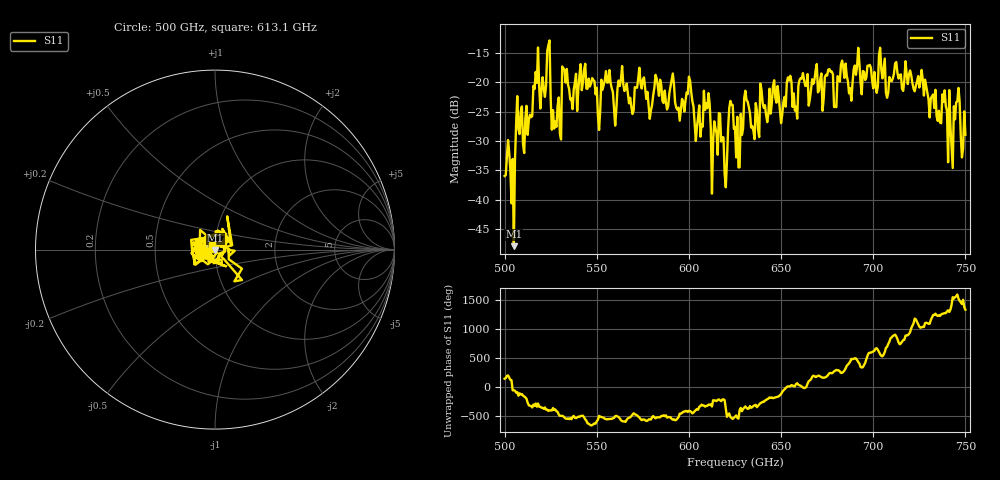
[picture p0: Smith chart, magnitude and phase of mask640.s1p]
!Created with skrf (http://scikit-rf.org).
# GHz S MA R 50.0
!freq magS11 angS11
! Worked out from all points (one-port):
!   401 points, 500 GHz to 750 GHz, reference 50 ohm
!   lowest |S11| = -47.9 dB at 505 GHz (marker M1), VSWR 1.01, Z = 50.2 - j0.355 ohm
!   |S11| at or under -10 dB: start of sweep to end of sweep
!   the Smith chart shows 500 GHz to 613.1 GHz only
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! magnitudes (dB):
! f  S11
! 500 GHz  -36.0
! 505 GHz  -47.9
! 507.5 GHz  -28.0
! 513.8 GHz  -25.5
! 516.9 GHz  -18.2
! 520.6 GHz  -19.1
! 523.8 GHz  -13.7
! 526.9 GHz  -27.9
! 531.2 GHz  -17.3
! 532.5 GHz  -17.9
! 550.6 GHz  -25.6
! 562.5 GHz  -20.7
! 568.8 GHz  -24.2
! 590.6 GHz  -19.6
! 593.8 GHz  -24.7
! 609.4 GHz  -23.6
! 619.4 GHz  -35.6
! 622.5 GHz  -23.2
! 625 GHz  -27.6
! 656.2 GHz  -24.2
! 676.9 GHz  -18.2
! 680 GHz  -24.2
! 683.8 GHz  -17.5
! 687.5 GHz  -21.0
! 691.2 GHz  -17.2
! 718.8 GHz  -20.3
! 745.6 GHz  -23.3
! 750 GHz  -28.9
